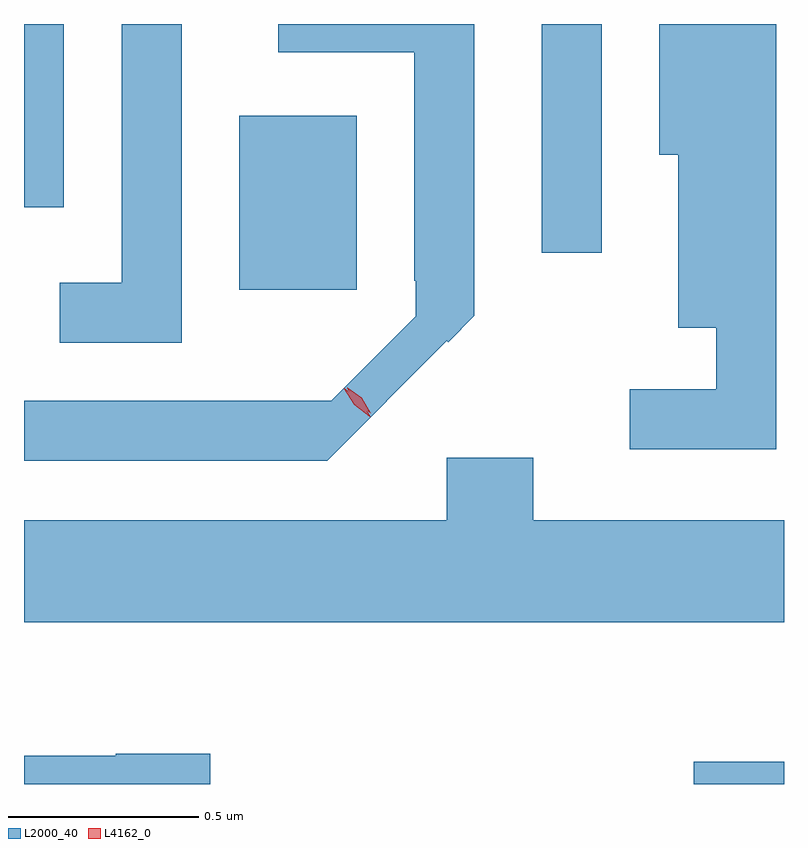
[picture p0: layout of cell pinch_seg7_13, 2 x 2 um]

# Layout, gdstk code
import gdstk
lib = gdstk.Library(unit=1e-6, precision=1e-09)
def R(c, l, rs):  # rectangles x0, y0, x1, y1
    for r in rs: c.add(gdstk.rectangle(r[:2], r[2:], *l))
def P(c, l, *ps):  # polygons
    for p in ps: c.add(gdstk.Polygon(p, *l))
L2000_40 = (2000, 40)
L4162_0 = (4162, 0)

pinch_seg7_13 = lib.new_cell('pinch_seg7_13')
R(pinch_seg7_13, L2000_40, [(1617.216,1778.27,1617.454,1778.329), (1616.021,1779.571,1616.329,1780.029), (1616.816,1779.668,1616.974,1780.27), (1615.454,1779.788,1615.559,1780.27)])
P(pinch_seg7_13, L2000_40, [(1615.869,1780.27),(1615.711,1780.27),(1615.711,1779.589),(1615.548,1779.589),(1615.548,1779.431),(1615.869,1779.431)],
  [(1617.434,1780.27),(1617.126,1780.27),(1617.126,1779.926),(1617.176,1779.926),(1617.176,1779.471),(1617.276,1779.471),(1617.276,1779.309),(1617.048,1779.309),(1617.048,1779.151),(1617.434,1779.151)],
  [(1616.567,1779.437),(1616.571,1779.433),(1616.639,1779.502),(1616.639,1780.27),(1616.123,1780.27),(1616.123,1780.196),(1616.481,1780.196),(1616.481,1779.595),(1616.485,1779.595),(1616.485,1779.501),(1616.263,1779.279),(1615.454,1779.279),(1615.454,1779.121),(1616.252,1779.121)],
  [(1617.454,1778.964),(1616.794,1778.964),(1616.794,1779.129),(1616.566,1779.129),(1616.566,1778.964),(1615.454,1778.964),(1615.454,1778.696),(1617.454,1778.696)],
  [(1615.944,1778.349),(1615.695,1778.349),(1615.695,1778.344),(1615.454,1778.344),(1615.454,1778.27),(1615.944,1778.27)])
P(pinch_seg7_13, L4162_0, [(1616.364,1779.237),(1616.323,1779.268),(1616.296,1779.311),(1616.296,1779.312),(1616.297,1779.312),(1616.338,1779.281),(1616.365,1779.238),(1616.365,1779.237)],
  [(1616.366,1779.246),(1616.328,1779.272),(1616.305,1779.312),(1616.305,1779.313),(1616.306,1779.313),(1616.343,1779.286),(1616.366,1779.246),(1616.366,1779.246)])

lib.write_gds('pinch_seg7_13.gds')
